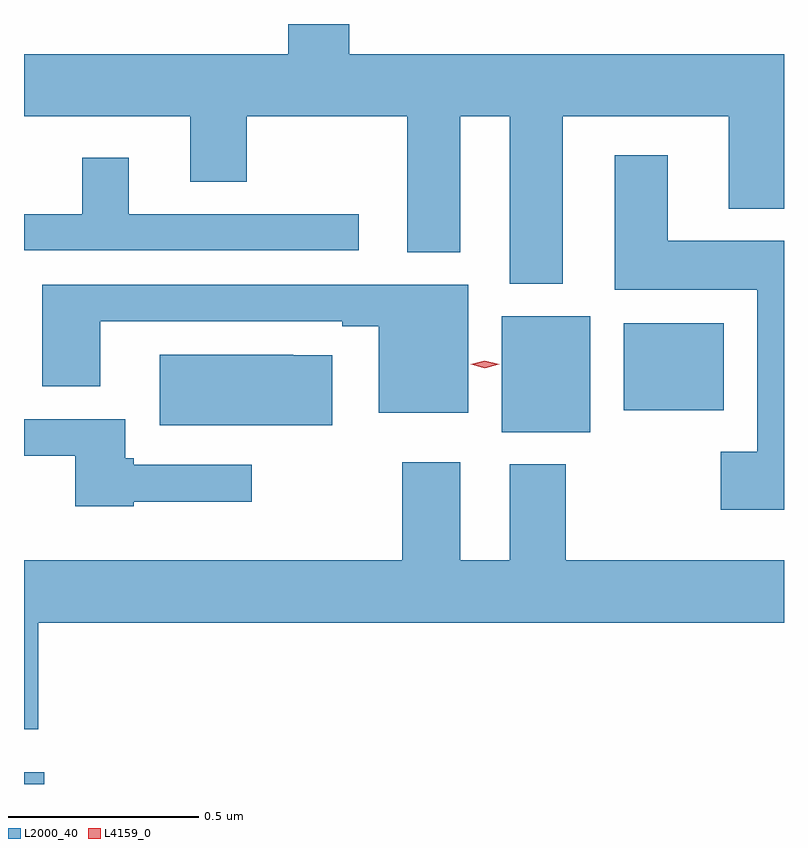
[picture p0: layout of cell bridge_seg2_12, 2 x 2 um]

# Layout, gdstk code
import gdstk
lib = gdstk.Library(unit=1e-6, precision=1e-09)
def R(c, l, rs):  # rectangles x0, y0, x1, y1
    for r in rs: c.add(gdstk.rectangle(r[:2], r[2:], *l))
def P(c, l, *ps):  # polygons
    for p in ps: c.add(gdstk.Polygon(p, *l))
L2000_40 = (2000, 40)
L4159_0 = (4159, 0)

bridge_seg2_12 = lib.new_cell('bridge_seg2_12')
R(bridge_seg2_12, L2000_40, [(765.497,611.247,765.55,611.278), (766.754,612.173,766.987,612.478), (767.075,612.23,767.338,612.46)])
P(bridge_seg2_12, L2000_40, [(766.915,613.004),(767.351,613.004),(767.351,612.761),(767.497,612.761),(767.497,613.168),(766.353,613.168),(766.353,613.247),(766.193,613.247),(766.193,613.168),(765.497,613.168),(765.497,613.004),(765.935,613.004),(765.935,612.832),(766.083,612.832),(766.083,613.004),(766.505,613.004),(766.505,612.647),(766.645,612.647),(766.645,613.004),(766.775,613.004),(766.775,612.563),(766.915,612.563)],
  [(767.497,612.676),(767.191,612.676),(767.191,612.901),(767.051,612.901),(767.051,612.548),(767.426,612.548),(767.426,612.121),(767.331,612.121),(767.331,611.969),(767.497,611.969)],
  [(766.378,612.747),(765.772,612.747),(765.772,612.895),(765.65,612.895),(765.65,612.747),(765.497,612.747),(765.497,612.651),(766.378,612.651)],
  [(766.666,612.561),(765.545,612.561),(765.545,612.294),(765.697,612.294),(765.697,612.465),(766.334,612.465),(766.334,612.452),(766.43,612.452),(766.43,612.224),(766.666,612.224)],
  [(766.308,612.375),(766.205,612.375),(766.205,612.376),(765.854,612.376),(765.854,612.191),(766.308,612.191)],
  [(765.786,611.99),(766.096,611.99),(766.096,612.087),(765.786,612.087),(765.786,612.104),(765.763,612.104),(765.763,612.207),(765.497,612.207),(765.497,612.111),(765.632,612.111),(765.632,611.978),(765.786,611.978)],
  [(767.497,611.836),(766.923,611.836),(766.923,612.088),(766.775,612.088),(766.775,611.836),(766.645,611.836),(766.645,612.094),(766.493,612.094),(766.493,611.836),(765.497,611.836),(765.497,611.391),(765.535,611.391),(765.535,611.672),(767.497,611.672)])
P(bridge_seg2_12, L4159_0, [(766.71,612.341),(766.673,612.351),(766.673,612.351),(766.673,612.352),(766.71,612.361),(766.748,612.352),(766.748,612.351),(766.748,612.351)])

lib.write_gds('bridge_seg2_12.gds')
